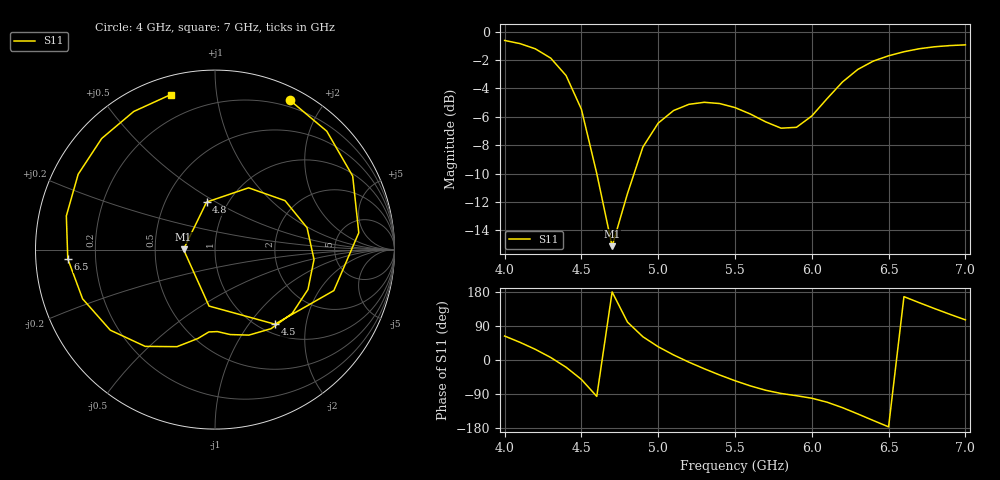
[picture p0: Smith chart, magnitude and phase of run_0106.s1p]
! Touchstone file exported from HFSS 2024.2.0
!  File:  C:/Users/wsak9/Desktop/Sim Fast/Widenad Patch/WP_AI_V1_sweep.aedt
!  Generated:  07:20:12 PM Oct 13, 2026
!  Design:  A1_model
!  Project:  WP_AI_V1_sweep
!  Setup:  Setup1
!  Solution:  Sweep
! Variables:
!  Air_gap = 2.21mm
!  Curve_Amp1 = 0.52
!  Curve_len1 = 1
!  Curve_pos = 11.725mm
!  Extra = 2mm
!  H_sub = 0.79mm
!  L_Patch = 19.45mm
!  L_Patch1 = 14.99mm
!  Sx = 1.02mm
!  Sy = 0.75mm
!  WS = 1.1mm
!  W_Patch = 17.28mm
!  W_Patch1 = 12.99mm
!Data is not renormalized
# GHz S MA
! Terminal data exported
! Port[1] = 1
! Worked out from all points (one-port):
!   31 points, 4 GHz to 7 GHz, reference per port
!   lowest |S11| = -15.1 dB at 4.7 GHz (marker M1), VSWR 1.43
!   |S11| at or under -10 dB: 4.6 GHz to 4.843 GHz (243 MHz wide, 5.15 % of centre)
!   S11 on the Smith chart (normalised r, x): 4 GHz: 0.13, +1.62; 4.5 GHz: 1.16, -1.35; 4.8 GHz: 0.80, +0.45; 6.5 GHz: 0.10, -0.03; 7 GHz: 0.08, +0.75
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4  0.9306 63.3
4.1  0.9072 46.7
4.2  0.8696 28.1
4.3  0.8066 6.7
4.4  0.7004 -19.0
4.5  0.5328 -51.2
4.6  0.3163 -96.0
4.7  0.1755 179.7
4.8  0.2688 100.0
4.9  0.3918 61.5
5  0.4761 35.0
5.1  0.5272 13.4
5.2  0.5545 -5.7
5.3  0.5636 -23.2
5.5  0.54 -54.7
5.7  0.4809 -79.8
5.9  0.46 -94.3
6  0.5044 -100.9
6.1  0.5809 -111.4
6.2  0.6648 -125.8
6.3  0.736 -142.4
6.4  0.7871 -159.6
6.5  0.8219 -176.4
6.6  0.8492 167.2
6.7  0.8703 151.2
6.8  0.8843 135.6
6.9  0.8929 120.5
7  0.898 106.0
